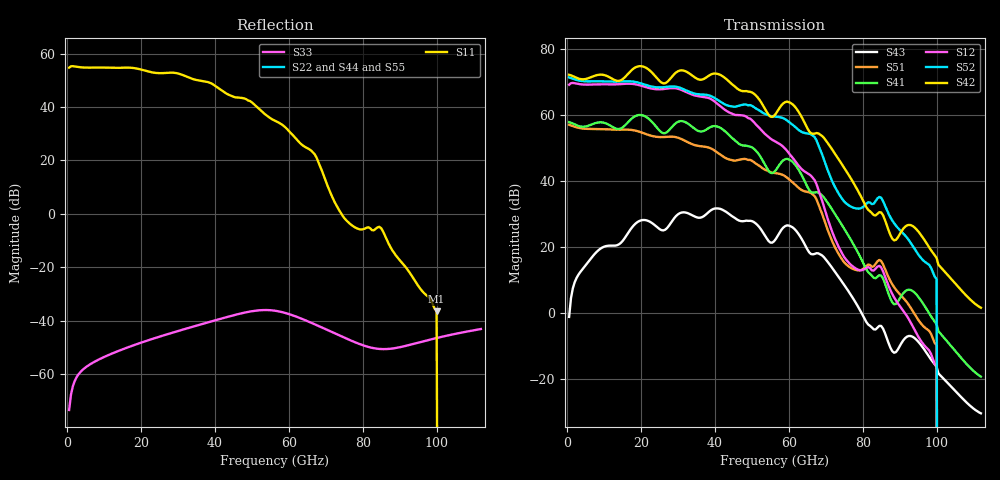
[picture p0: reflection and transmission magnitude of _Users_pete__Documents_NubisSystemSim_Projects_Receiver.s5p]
! File created by SignalIntegrity v1.2.1: Signal and Power Integrity Tools
! https://github.com/TeledyneLeCroy/SignalIntegrity
# MHz S MA R 50.0
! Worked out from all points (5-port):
!   224 points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, 500 MHz to 112 GHz, reference 50 ohm
!   strongest paths, dB at 500 MHz, 28.5 GHz, 56.5 GHz, 84.5 GHz, 112 GHz:
!     S42: 72.1, 71.8, 60.4, 30.5, 1.6
!     S52: 71.3, 68.6, 59.4, 35.1, -
!     S12: 69.1, 68.1, 51.8, 14.3, -
!     S41: 57.8, 56.6, 43.3, 11.4, -19.3
!     S51: 57.0, 53.4, 42.3, 16.0, -
!     S43: -1.2, 28.0, 22.4, -3.9, -30.4
!   lowest |S11| = -36.4 dB at 100 GHz (marker M1), VSWR 1.03, Z = 50.6 - j1.38 ohm
!   |S11| at or under -10 dB: 86.63 GHz to end of sweep
